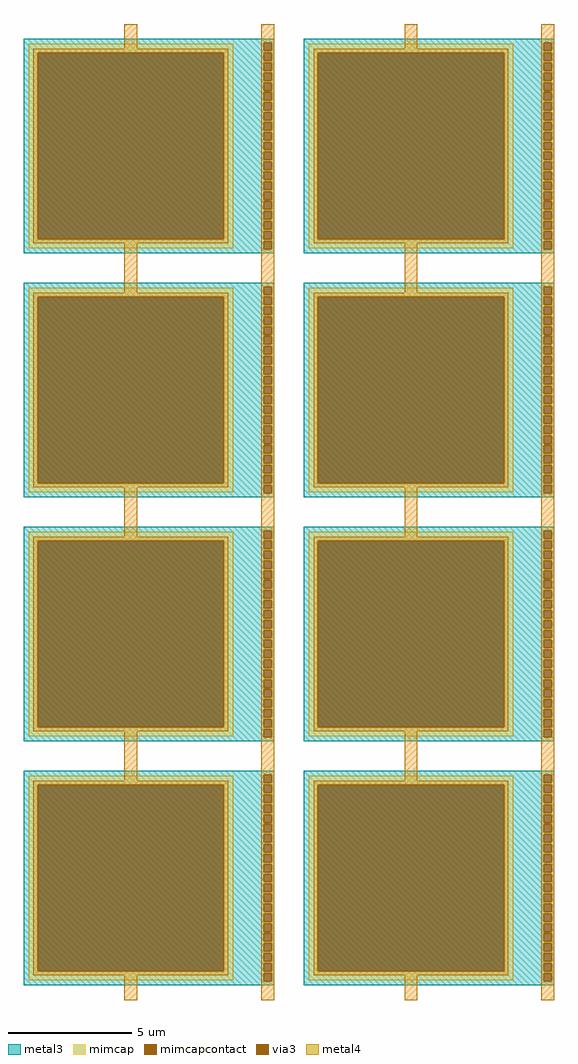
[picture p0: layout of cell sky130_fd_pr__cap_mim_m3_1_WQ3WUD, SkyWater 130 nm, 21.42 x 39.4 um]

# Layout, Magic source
magic
tech sky130A
magscale 1 2
<< metal3 >>
rect -2142 3787 -120 3820
rect -2142 3723 -204 3787
rect -140 3723 -120 3787
rect -2142 3707 -120 3723
rect -2142 3643 -204 3707
rect -140 3643 -120 3707
rect -2142 3627 -120 3643
rect -2142 3563 -204 3627
rect -140 3563 -120 3627
rect -2142 3547 -120 3563
rect -2142 3483 -204 3547
rect -140 3483 -120 3547
rect -2142 3467 -120 3483
rect -2142 3403 -204 3467
rect -140 3403 -120 3467
rect -2142 3387 -120 3403
rect -2142 3323 -204 3387
rect -140 3323 -120 3387
rect -2142 3307 -120 3323
rect -2142 3243 -204 3307
rect -140 3243 -120 3307
rect -2142 3227 -120 3243
rect -2142 3163 -204 3227
rect -140 3163 -120 3227
rect -2142 3147 -120 3163
rect -2142 3083 -204 3147
rect -140 3083 -120 3147
rect -2142 3067 -120 3083
rect -2142 3003 -204 3067
rect -140 3003 -120 3067
rect -2142 2987 -120 3003
rect -2142 2923 -204 2987
rect -140 2923 -120 2987
rect -2142 2907 -120 2923
rect -2142 2843 -204 2907
rect -140 2843 -120 2907
rect -2142 2827 -120 2843
rect -2142 2763 -204 2827
rect -140 2763 -120 2827
rect -2142 2747 -120 2763
rect -2142 2683 -204 2747
rect -140 2683 -120 2747
rect -2142 2667 -120 2683
rect -2142 2603 -204 2667
rect -140 2603 -120 2667
rect -2142 2587 -120 2603
rect -2142 2523 -204 2587
rect -140 2523 -120 2587
rect -2142 2507 -120 2523
rect -2142 2443 -204 2507
rect -140 2443 -120 2507
rect -2142 2427 -120 2443
rect -2142 2363 -204 2427
rect -140 2363 -120 2427
rect -2142 2347 -120 2363
rect -2142 2283 -204 2347
rect -140 2283 -120 2347
rect -2142 2267 -120 2283
rect -2142 2203 -204 2267
rect -140 2203 -120 2267
rect -2142 2187 -120 2203
rect -2142 2123 -204 2187
rect -140 2123 -120 2187
rect -2142 2090 -120 2123
rect 120 3787 2142 3820
rect 120 3723 2058 3787
rect 2122 3723 2142 3787
rect 120 3707 2142 3723
rect 120 3643 2058 3707
rect 2122 3643 2142 3707
rect 120 3627 2142 3643
rect 120 3563 2058 3627
rect 2122 3563 2142 3627
rect 120 3547 2142 3563
rect 120 3483 2058 3547
rect 2122 3483 2142 3547
rect 120 3467 2142 3483
rect 120 3403 2058 3467
rect 2122 3403 2142 3467
rect 120 3387 2142 3403
rect 120 3323 2058 3387
rect 2122 3323 2142 3387
rect 120 3307 2142 3323
rect 120 3243 2058 3307
rect 2122 3243 2142 3307
rect 120 3227 2142 3243
rect 120 3163 2058 3227
rect 2122 3163 2142 3227
rect 120 3147 2142 3163
rect 120 3083 2058 3147
rect 2122 3083 2142 3147
rect 120 3067 2142 3083
rect 120 3003 2058 3067
rect 2122 3003 2142 3067
rect 120 2987 2142 3003
rect 120 2923 2058 2987
rect 2122 2923 2142 2987
rect 120 2907 2142 2923
rect 120 2843 2058 2907
rect 2122 2843 2142 2907
rect 120 2827 2142 2843
rect 120 2763 2058 2827
rect 2122 2763 2142 2827
rect 120 2747 2142 2763
rect 120 2683 2058 2747
rect 2122 2683 2142 2747
rect 120 2667 2142 2683
rect 120 2603 2058 2667
rect 2122 2603 2142 2667
rect 120 2587 2142 2603
rect 120 2523 2058 2587
rect 2122 2523 2142 2587
rect 120 2507 2142 2523
rect 120 2443 2058 2507
rect 2122 2443 2142 2507
rect 120 2427 2142 2443
rect 120 2363 2058 2427
rect 2122 2363 2142 2427
rect 120 2347 2142 2363
rect 120 2283 2058 2347
rect 2122 2283 2142 2347
rect 120 2267 2142 2283
rect 120 2203 2058 2267
rect 2122 2203 2142 2267
rect 120 2187 2142 2203
rect 120 2123 2058 2187
rect 2122 2123 2142 2187
rect 120 2090 2142 2123
rect -2142 1817 -120 1850
rect -2142 1753 -204 1817
rect -140 1753 -120 1817
rect -2142 1737 -120 1753
rect -2142 1673 -204 1737
rect -140 1673 -120 1737
rect -2142 1657 -120 1673
rect -2142 1593 -204 1657
rect -140 1593 -120 1657
rect -2142 1577 -120 1593
rect -2142 1513 -204 1577
rect -140 1513 -120 1577
rect -2142 1497 -120 1513
rect -2142 1433 -204 1497
rect -140 1433 -120 1497
rect -2142 1417 -120 1433
rect -2142 1353 -204 1417
rect -140 1353 -120 1417
rect -2142 1337 -120 1353
rect -2142 1273 -204 1337
rect -140 1273 -120 1337
rect -2142 1257 -120 1273
rect -2142 1193 -204 1257
rect -140 1193 -120 1257
rect -2142 1177 -120 1193
rect -2142 1113 -204 1177
rect -140 1113 -120 1177
rect -2142 1097 -120 1113
rect -2142 1033 -204 1097
rect -140 1033 -120 1097
rect -2142 1017 -120 1033
rect -2142 953 -204 1017
rect -140 953 -120 1017
rect -2142 937 -120 953
rect -2142 873 -204 937
rect -140 873 -120 937
rect -2142 857 -120 873
rect -2142 793 -204 857
rect -140 793 -120 857
rect -2142 777 -120 793
rect -2142 713 -204 777
rect -140 713 -120 777
rect -2142 697 -120 713
rect -2142 633 -204 697
rect -140 633 -120 697
rect -2142 617 -120 633
rect -2142 553 -204 617
rect -140 553 -120 617
rect -2142 537 -120 553
rect -2142 473 -204 537
rect -140 473 -120 537
rect -2142 457 -120 473
rect -2142 393 -204 457
rect -140 393 -120 457
rect -2142 377 -120 393
rect -2142 313 -204 377
rect -140 313 -120 377
rect -2142 297 -120 313
rect -2142 233 -204 297
rect -140 233 -120 297
rect -2142 217 -120 233
rect -2142 153 -204 217
rect -140 153 -120 217
rect -2142 120 -120 153
rect 120 1817 2142 1850
rect 120 1753 2058 1817
rect 2122 1753 2142 1817
rect 120 1737 2142 1753
rect 120 1673 2058 1737
rect 2122 1673 2142 1737
rect 120 1657 2142 1673
rect 120 1593 2058 1657
rect 2122 1593 2142 1657
rect 120 1577 2142 1593
rect 120 1513 2058 1577
rect 2122 1513 2142 1577
rect 120 1497 2142 1513
rect 120 1433 2058 1497
rect 2122 1433 2142 1497
rect 120 1417 2142 1433
rect 120 1353 2058 1417
rect 2122 1353 2142 1417
rect 120 1337 2142 1353
rect 120 1273 2058 1337
rect 2122 1273 2142 1337
rect 120 1257 2142 1273
rect 120 1193 2058 1257
rect 2122 1193 2142 1257
rect 120 1177 2142 1193
rect 120 1113 2058 1177
rect 2122 1113 2142 1177
rect 120 1097 2142 1113
rect 120 1033 2058 1097
rect 2122 1033 2142 1097
rect 120 1017 2142 1033
rect 120 953 2058 1017
rect 2122 953 2142 1017
rect 120 937 2142 953
rect 120 873 2058 937
rect 2122 873 2142 937
rect 120 857 2142 873
rect 120 793 2058 857
rect 2122 793 2142 857
rect 120 777 2142 793
rect 120 713 2058 777
rect 2122 713 2142 777
rect 120 697 2142 713
rect 120 633 2058 697
rect 2122 633 2142 697
rect 120 617 2142 633
rect 120 553 2058 617
rect 2122 553 2142 617
rect 120 537 2142 553
rect 120 473 2058 537
rect 2122 473 2142 537
rect 120 457 2142 473
rect 120 393 2058 457
rect 2122 393 2142 457
rect 120 377 2142 393
rect 120 313 2058 377
rect 2122 313 2142 377
rect 120 297 2142 313
rect 120 233 2058 297
rect 2122 233 2142 297
rect 120 217 2142 233
rect 120 153 2058 217
rect 2122 153 2142 217
rect 120 120 2142 153
rect -2142 -153 -120 -120
rect -2142 -217 -204 -153
rect -140 -217 -120 -153
rect -2142 -233 -120 -217
rect -2142 -297 -204 -233
rect -140 -297 -120 -233
rect -2142 -313 -120 -297
rect -2142 -377 -204 -313
rect -140 -377 -120 -313
rect -2142 -393 -120 -377
rect -2142 -457 -204 -393
rect -140 -457 -120 -393
rect -2142 -473 -120 -457
rect -2142 -537 -204 -473
rect -140 -537 -120 -473
rect -2142 -553 -120 -537
rect -2142 -617 -204 -553
rect -140 -617 -120 -553
rect -2142 -633 -120 -617
rect -2142 -697 -204 -633
rect -140 -697 -120 -633
rect -2142 -713 -120 -697
rect -2142 -777 -204 -713
rect -140 -777 -120 -713
rect -2142 -793 -120 -777
rect -2142 -857 -204 -793
rect -140 -857 -120 -793
rect -2142 -873 -120 -857
rect -2142 -937 -204 -873
rect -140 -937 -120 -873
rect -2142 -953 -120 -937
rect -2142 -1017 -204 -953
rect -140 -1017 -120 -953
rect -2142 -1033 -120 -1017
rect -2142 -1097 -204 -1033
rect -140 -1097 -120 -1033
rect -2142 -1113 -120 -1097
rect -2142 -1177 -204 -1113
rect -140 -1177 -120 -1113
rect -2142 -1193 -120 -1177
rect -2142 -1257 -204 -1193
rect -140 -1257 -120 -1193
rect -2142 -1273 -120 -1257
rect -2142 -1337 -204 -1273
rect -140 -1337 -120 -1273
rect -2142 -1353 -120 -1337
rect -2142 -1417 -204 -1353
rect -140 -1417 -120 -1353
rect -2142 -1433 -120 -1417
rect -2142 -1497 -204 -1433
rect -140 -1497 -120 -1433
rect -2142 -1513 -120 -1497
rect -2142 -1577 -204 -1513
rect -140 -1577 -120 -1513
rect -2142 -1593 -120 -1577
rect -2142 -1657 -204 -1593
rect -140 -1657 -120 -1593
rect -2142 -1673 -120 -1657
rect -2142 -1737 -204 -1673
rect -140 -1737 -120 -1673
rect -2142 -1753 -120 -1737
rect -2142 -1817 -204 -1753
rect -140 -1817 -120 -1753
rect -2142 -1850 -120 -1817
rect 120 -153 2142 -120
rect 120 -217 2058 -153
rect 2122 -217 2142 -153
rect 120 -233 2142 -217
rect 120 -297 2058 -233
rect 2122 -297 2142 -233
rect 120 -313 2142 -297
rect 120 -377 2058 -313
rect 2122 -377 2142 -313
rect 120 -393 2142 -377
rect 120 -457 2058 -393
rect 2122 -457 2142 -393
rect 120 -473 2142 -457
rect 120 -537 2058 -473
rect 2122 -537 2142 -473
rect 120 -553 2142 -537
rect 120 -617 2058 -553
rect 2122 -617 2142 -553
rect 120 -633 2142 -617
rect 120 -697 2058 -633
rect 2122 -697 2142 -633
rect 120 -713 2142 -697
rect 120 -777 2058 -713
rect 2122 -777 2142 -713
rect 120 -793 2142 -777
rect 120 -857 2058 -793
rect 2122 -857 2142 -793
rect 120 -873 2142 -857
rect 120 -937 2058 -873
rect 2122 -937 2142 -873
rect 120 -953 2142 -937
rect 120 -1017 2058 -953
rect 2122 -1017 2142 -953
rect 120 -1033 2142 -1017
rect 120 -1097 2058 -1033
rect 2122 -1097 2142 -1033
rect 120 -1113 2142 -1097
rect 120 -1177 2058 -1113
rect 2122 -1177 2142 -1113
rect 120 -1193 2142 -1177
rect 120 -1257 2058 -1193
rect 2122 -1257 2142 -1193
rect 120 -1273 2142 -1257
rect 120 -1337 2058 -1273
rect 2122 -1337 2142 -1273
rect 120 -1353 2142 -1337
rect 120 -1417 2058 -1353
rect 2122 -1417 2142 -1353
rect 120 -1433 2142 -1417
rect 120 -1497 2058 -1433
rect 2122 -1497 2142 -1433
rect 120 -1513 2142 -1497
rect 120 -1577 2058 -1513
rect 2122 -1577 2142 -1513
rect 120 -1593 2142 -1577
rect 120 -1657 2058 -1593
rect 2122 -1657 2142 -1593
rect 120 -1673 2142 -1657
rect 120 -1737 2058 -1673
rect 2122 -1737 2142 -1673
rect 120 -1753 2142 -1737
rect 120 -1817 2058 -1753
rect 2122 -1817 2142 -1753
rect 120 -1850 2142 -1817
rect -2142 -2123 -120 -2090
rect -2142 -2187 -204 -2123
rect -140 -2187 -120 -2123
rect -2142 -2203 -120 -2187
rect -2142 -2267 -204 -2203
rect -140 -2267 -120 -2203
rect -2142 -2283 -120 -2267
rect -2142 -2347 -204 -2283
rect -140 -2347 -120 -2283
rect -2142 -2363 -120 -2347
rect -2142 -2427 -204 -2363
rect -140 -2427 -120 -2363
rect -2142 -2443 -120 -2427
rect -2142 -2507 -204 -2443
rect -140 -2507 -120 -2443
rect -2142 -2523 -120 -2507
rect -2142 -2587 -204 -2523
rect -140 -2587 -120 -2523
rect -2142 -2603 -120 -2587
rect -2142 -2667 -204 -2603
rect -140 -2667 -120 -2603
rect -2142 -2683 -120 -2667
rect -2142 -2747 -204 -2683
rect -140 -2747 -120 -2683
rect -2142 -2763 -120 -2747
rect -2142 -2827 -204 -2763
rect -140 -2827 -120 -2763
rect -2142 -2843 -120 -2827
rect -2142 -2907 -204 -2843
rect -140 -2907 -120 -2843
rect -2142 -2923 -120 -2907
rect -2142 -2987 -204 -2923
rect -140 -2987 -120 -2923
rect -2142 -3003 -120 -2987
rect -2142 -3067 -204 -3003
rect -140 -3067 -120 -3003
rect -2142 -3083 -120 -3067
rect -2142 -3147 -204 -3083
rect -140 -3147 -120 -3083
rect -2142 -3163 -120 -3147
rect -2142 -3227 -204 -3163
rect -140 -3227 -120 -3163
rect -2142 -3243 -120 -3227
rect -2142 -3307 -204 -3243
rect -140 -3307 -120 -3243
rect -2142 -3323 -120 -3307
rect -2142 -3387 -204 -3323
rect -140 -3387 -120 -3323
rect -2142 -3403 -120 -3387
rect -2142 -3467 -204 -3403
rect -140 -3467 -120 -3403
rect -2142 -3483 -120 -3467
rect -2142 -3547 -204 -3483
rect -140 -3547 -120 -3483
rect -2142 -3563 -120 -3547
rect -2142 -3627 -204 -3563
rect -140 -3627 -120 -3563
rect -2142 -3643 -120 -3627
rect -2142 -3707 -204 -3643
rect -140 -3707 -120 -3643
rect -2142 -3723 -120 -3707
rect -2142 -3787 -204 -3723
rect -140 -3787 -120 -3723
rect -2142 -3820 -120 -3787
rect 120 -2123 2142 -2090
rect 120 -2187 2058 -2123
rect 2122 -2187 2142 -2123
rect 120 -2203 2142 -2187
rect 120 -2267 2058 -2203
rect 2122 -2267 2142 -2203
rect 120 -2283 2142 -2267
rect 120 -2347 2058 -2283
rect 2122 -2347 2142 -2283
rect 120 -2363 2142 -2347
rect 120 -2427 2058 -2363
rect 2122 -2427 2142 -2363
rect 120 -2443 2142 -2427
rect 120 -2507 2058 -2443
rect 2122 -2507 2142 -2443
rect 120 -2523 2142 -2507
rect 120 -2587 2058 -2523
rect 2122 -2587 2142 -2523
rect 120 -2603 2142 -2587
rect 120 -2667 2058 -2603
rect 2122 -2667 2142 -2603
rect 120 -2683 2142 -2667
rect 120 -2747 2058 -2683
rect 2122 -2747 2142 -2683
rect 120 -2763 2142 -2747
rect 120 -2827 2058 -2763
rect 2122 -2827 2142 -2763
rect 120 -2843 2142 -2827
rect 120 -2907 2058 -2843
rect 2122 -2907 2142 -2843
rect 120 -2923 2142 -2907
rect 120 -2987 2058 -2923
rect 2122 -2987 2142 -2923
rect 120 -3003 2142 -2987
rect 120 -3067 2058 -3003
rect 2122 -3067 2142 -3003
rect 120 -3083 2142 -3067
rect 120 -3147 2058 -3083
rect 2122 -3147 2142 -3083
rect 120 -3163 2142 -3147
rect 120 -3227 2058 -3163
rect 2122 -3227 2142 -3163
rect 120 -3243 2142 -3227
rect 120 -3307 2058 -3243
rect 2122 -3307 2142 -3243
rect 120 -3323 2142 -3307
rect 120 -3387 2058 -3323
rect 2122 -3387 2142 -3323
rect 120 -3403 2142 -3387
rect 120 -3467 2058 -3403
rect 2122 -3467 2142 -3403
rect 120 -3483 2142 -3467
rect 120 -3547 2058 -3483
rect 2122 -3547 2142 -3483
rect 120 -3563 2142 -3547
rect 120 -3627 2058 -3563
rect 2122 -3627 2142 -3563
rect 120 -3643 2142 -3627
rect 120 -3707 2058 -3643
rect 2122 -3707 2142 -3643
rect 120 -3723 2142 -3707
rect 120 -3787 2058 -3723
rect 2122 -3787 2142 -3723
rect 120 -3820 2142 -3787
<< via3 >>
rect -204 3723 -140 3787
rect -204 3643 -140 3707
rect -204 3563 -140 3627
rect -204 3483 -140 3547
rect -204 3403 -140 3467
rect -204 3323 -140 3387
rect -204 3243 -140 3307
rect -204 3163 -140 3227
rect -204 3083 -140 3147
rect -204 3003 -140 3067
rect -204 2923 -140 2987
rect -204 2843 -140 2907
rect -204 2763 -140 2827
rect -204 2683 -140 2747
rect -204 2603 -140 2667
rect -204 2523 -140 2587
rect -204 2443 -140 2507
rect -204 2363 -140 2427
rect -204 2283 -140 2347
rect -204 2203 -140 2267
rect -204 2123 -140 2187
rect 2058 3723 2122 3787
rect 2058 3643 2122 3707
rect 2058 3563 2122 3627
rect 2058 3483 2122 3547
rect 2058 3403 2122 3467
rect 2058 3323 2122 3387
rect 2058 3243 2122 3307
rect 2058 3163 2122 3227
rect 2058 3083 2122 3147
rect 2058 3003 2122 3067
rect 2058 2923 2122 2987
rect 2058 2843 2122 2907
rect 2058 2763 2122 2827
rect 2058 2683 2122 2747
rect 2058 2603 2122 2667
rect 2058 2523 2122 2587
rect 2058 2443 2122 2507
rect 2058 2363 2122 2427
rect 2058 2283 2122 2347
rect 2058 2203 2122 2267
rect 2058 2123 2122 2187
rect -204 1753 -140 1817
rect -204 1673 -140 1737
rect -204 1593 -140 1657
rect -204 1513 -140 1577
rect -204 1433 -140 1497
rect -204 1353 -140 1417
rect -204 1273 -140 1337
rect -204 1193 -140 1257
rect -204 1113 -140 1177
rect -204 1033 -140 1097
rect -204 953 -140 1017
rect -204 873 -140 937
rect -204 793 -140 857
rect -204 713 -140 777
rect -204 633 -140 697
rect -204 553 -140 617
rect -204 473 -140 537
rect -204 393 -140 457
rect -204 313 -140 377
rect -204 233 -140 297
rect -204 153 -140 217
rect 2058 1753 2122 1817
rect 2058 1673 2122 1737
rect 2058 1593 2122 1657
rect 2058 1513 2122 1577
rect 2058 1433 2122 1497
rect 2058 1353 2122 1417
rect 2058 1273 2122 1337
rect 2058 1193 2122 1257
rect 2058 1113 2122 1177
rect 2058 1033 2122 1097
rect 2058 953 2122 1017
rect 2058 873 2122 937
rect 2058 793 2122 857
rect 2058 713 2122 777
rect 2058 633 2122 697
rect 2058 553 2122 617
rect 2058 473 2122 537
rect 2058 393 2122 457
rect 2058 313 2122 377
rect 2058 233 2122 297
rect 2058 153 2122 217
rect -204 -217 -140 -153
rect -204 -297 -140 -233
rect -204 -377 -140 -313
rect -204 -457 -140 -393
rect -204 -537 -140 -473
rect -204 -617 -140 -553
rect -204 -697 -140 -633
rect -204 -777 -140 -713
rect -204 -857 -140 -793
rect -204 -937 -140 -873
rect -204 -1017 -140 -953
rect -204 -1097 -140 -1033
rect -204 -1177 -140 -1113
rect -204 -1257 -140 -1193
rect -204 -1337 -140 -1273
rect -204 -1417 -140 -1353
rect -204 -1497 -140 -1433
rect -204 -1577 -140 -1513
rect -204 -1657 -140 -1593
rect -204 -1737 -140 -1673
rect -204 -1817 -140 -1753
rect 2058 -217 2122 -153
rect 2058 -297 2122 -233
rect 2058 -377 2122 -313
rect 2058 -457 2122 -393
rect 2058 -537 2122 -473
rect 2058 -617 2122 -553
rect 2058 -697 2122 -633
rect 2058 -777 2122 -713
rect 2058 -857 2122 -793
rect 2058 -937 2122 -873
rect 2058 -1017 2122 -953
rect 2058 -1097 2122 -1033
rect 2058 -1177 2122 -1113
rect 2058 -1257 2122 -1193
rect 2058 -1337 2122 -1273
rect 2058 -1417 2122 -1353
rect 2058 -1497 2122 -1433
rect 2058 -1577 2122 -1513
rect 2058 -1657 2122 -1593
rect 2058 -1737 2122 -1673
rect 2058 -1817 2122 -1753
rect -204 -2187 -140 -2123
rect -204 -2267 -140 -2203
rect -204 -2347 -140 -2283
rect -204 -2427 -140 -2363
rect -204 -2507 -140 -2443
rect -204 -2587 -140 -2523
rect -204 -2667 -140 -2603
rect -204 -2747 -140 -2683
rect -204 -2827 -140 -2763
rect -204 -2907 -140 -2843
rect -204 -2987 -140 -2923
rect -204 -3067 -140 -3003
rect -204 -3147 -140 -3083
rect -204 -3227 -140 -3163
rect -204 -3307 -140 -3243
rect -204 -3387 -140 -3323
rect -204 -3467 -140 -3403
rect -204 -3547 -140 -3483
rect -204 -3627 -140 -3563
rect -204 -3707 -140 -3643
rect -204 -3787 -140 -3723
rect 2058 -2187 2122 -2123
rect 2058 -2267 2122 -2203
rect 2058 -2347 2122 -2283
rect 2058 -2427 2122 -2363
rect 2058 -2507 2122 -2443
rect 2058 -2587 2122 -2523
rect 2058 -2667 2122 -2603
rect 2058 -2747 2122 -2683
rect 2058 -2827 2122 -2763
rect 2058 -2907 2122 -2843
rect 2058 -2987 2122 -2923
rect 2058 -3067 2122 -3003
rect 2058 -3147 2122 -3083
rect 2058 -3227 2122 -3163
rect 2058 -3307 2122 -3243
rect 2058 -3387 2122 -3323
rect 2058 -3467 2122 -3403
rect 2058 -3547 2122 -3483
rect 2058 -3627 2122 -3563
rect 2058 -3707 2122 -3643
rect 2058 -3787 2122 -3723
<< mimcap >>
rect -2102 3707 -452 3780
rect -2102 2203 -2029 3707
rect -525 2203 -452 3707
rect -2102 2130 -452 2203
rect 160 3707 1810 3780
rect 160 2203 233 3707
rect 1737 2203 1810 3707
rect 160 2130 1810 2203
rect -2102 1737 -452 1810
rect -2102 233 -2029 1737
rect -525 233 -452 1737
rect -2102 160 -452 233
rect 160 1737 1810 1810
rect 160 233 233 1737
rect 1737 233 1810 1737
rect 160 160 1810 233
rect -2102 -233 -452 -160
rect -2102 -1737 -2029 -233
rect -525 -1737 -452 -233
rect -2102 -1810 -452 -1737
rect 160 -233 1810 -160
rect 160 -1737 233 -233
rect 1737 -1737 1810 -233
rect 160 -1810 1810 -1737
rect -2102 -2203 -452 -2130
rect -2102 -3707 -2029 -2203
rect -525 -3707 -452 -2203
rect -2102 -3780 -452 -3707
rect 160 -2203 1810 -2130
rect 160 -3707 233 -2203
rect 1737 -3707 1810 -2203
rect 160 -3780 1810 -3707
<< mimcapcontact >>
rect -2029 2203 -525 3707
rect 233 2203 1737 3707
rect -2029 233 -525 1737
rect 233 233 1737 1737
rect -2029 -1737 -525 -233
rect 233 -1737 1737 -233
rect -2029 -3707 -525 -2203
rect 233 -3707 1737 -2203
<< metal4 >>
rect -1329 3741 -1225 3940
rect -224 3787 -120 3940
rect -2063 3707 -491 3741
rect -2063 2203 -2029 3707
rect -525 2203 -491 3707
rect -2063 2169 -491 2203
rect -224 3723 -204 3787
rect -140 3723 -120 3787
rect 933 3741 1037 3940
rect 2038 3787 2142 3940
rect -224 3707 -120 3723
rect -224 3643 -204 3707
rect -140 3643 -120 3707
rect -224 3627 -120 3643
rect -224 3563 -204 3627
rect -140 3563 -120 3627
rect -224 3547 -120 3563
rect -224 3483 -204 3547
rect -140 3483 -120 3547
rect -224 3467 -120 3483
rect -224 3403 -204 3467
rect -140 3403 -120 3467
rect -224 3387 -120 3403
rect -224 3323 -204 3387
rect -140 3323 -120 3387
rect -224 3307 -120 3323
rect -224 3243 -204 3307
rect -140 3243 -120 3307
rect -224 3227 -120 3243
rect -224 3163 -204 3227
rect -140 3163 -120 3227
rect -224 3147 -120 3163
rect -224 3083 -204 3147
rect -140 3083 -120 3147
rect -224 3067 -120 3083
rect -224 3003 -204 3067
rect -140 3003 -120 3067
rect -224 2987 -120 3003
rect -224 2923 -204 2987
rect -140 2923 -120 2987
rect -224 2907 -120 2923
rect -224 2843 -204 2907
rect -140 2843 -120 2907
rect -224 2827 -120 2843
rect -224 2763 -204 2827
rect -140 2763 -120 2827
rect -224 2747 -120 2763
rect -224 2683 -204 2747
rect -140 2683 -120 2747
rect -224 2667 -120 2683
rect -224 2603 -204 2667
rect -140 2603 -120 2667
rect -224 2587 -120 2603
rect -224 2523 -204 2587
rect -140 2523 -120 2587
rect -224 2507 -120 2523
rect -224 2443 -204 2507
rect -140 2443 -120 2507
rect -224 2427 -120 2443
rect -224 2363 -204 2427
rect -140 2363 -120 2427
rect -224 2347 -120 2363
rect -224 2283 -204 2347
rect -140 2283 -120 2347
rect -224 2267 -120 2283
rect -224 2203 -204 2267
rect -140 2203 -120 2267
rect -224 2187 -120 2203
rect -1329 1771 -1225 2169
rect -224 2123 -204 2187
rect -140 2123 -120 2187
rect 199 3707 1771 3741
rect 199 2203 233 3707
rect 1737 2203 1771 3707
rect 199 2169 1771 2203
rect 2038 3723 2058 3787
rect 2122 3723 2142 3787
rect 2038 3707 2142 3723
rect 2038 3643 2058 3707
rect 2122 3643 2142 3707
rect 2038 3627 2142 3643
rect 2038 3563 2058 3627
rect 2122 3563 2142 3627
rect 2038 3547 2142 3563
rect 2038 3483 2058 3547
rect 2122 3483 2142 3547
rect 2038 3467 2142 3483
rect 2038 3403 2058 3467
rect 2122 3403 2142 3467
rect 2038 3387 2142 3403
rect 2038 3323 2058 3387
rect 2122 3323 2142 3387
rect 2038 3307 2142 3323
rect 2038 3243 2058 3307
rect 2122 3243 2142 3307
rect 2038 3227 2142 3243
rect 2038 3163 2058 3227
rect 2122 3163 2142 3227
rect 2038 3147 2142 3163
rect 2038 3083 2058 3147
rect 2122 3083 2142 3147
rect 2038 3067 2142 3083
rect 2038 3003 2058 3067
rect 2122 3003 2142 3067
rect 2038 2987 2142 3003
rect 2038 2923 2058 2987
rect 2122 2923 2142 2987
rect 2038 2907 2142 2923
rect 2038 2843 2058 2907
rect 2122 2843 2142 2907
rect 2038 2827 2142 2843
rect 2038 2763 2058 2827
rect 2122 2763 2142 2827
rect 2038 2747 2142 2763
rect 2038 2683 2058 2747
rect 2122 2683 2142 2747
rect 2038 2667 2142 2683
rect 2038 2603 2058 2667
rect 2122 2603 2142 2667
rect 2038 2587 2142 2603
rect 2038 2523 2058 2587
rect 2122 2523 2142 2587
rect 2038 2507 2142 2523
rect 2038 2443 2058 2507
rect 2122 2443 2142 2507
rect 2038 2427 2142 2443
rect 2038 2363 2058 2427
rect 2122 2363 2142 2427
rect 2038 2347 2142 2363
rect 2038 2283 2058 2347
rect 2122 2283 2142 2347
rect 2038 2267 2142 2283
rect 2038 2203 2058 2267
rect 2122 2203 2142 2267
rect 2038 2187 2142 2203
rect -224 1817 -120 2123
rect -2063 1737 -491 1771
rect -2063 233 -2029 1737
rect -525 233 -491 1737
rect -2063 199 -491 233
rect -224 1753 -204 1817
rect -140 1753 -120 1817
rect 933 1771 1037 2169
rect 2038 2123 2058 2187
rect 2122 2123 2142 2187
rect 2038 1817 2142 2123
rect -224 1737 -120 1753
rect -224 1673 -204 1737
rect -140 1673 -120 1737
rect -224 1657 -120 1673
rect -224 1593 -204 1657
rect -140 1593 -120 1657
rect -224 1577 -120 1593
rect -224 1513 -204 1577
rect -140 1513 -120 1577
rect -224 1497 -120 1513
rect -224 1433 -204 1497
rect -140 1433 -120 1497
rect -224 1417 -120 1433
rect -224 1353 -204 1417
rect -140 1353 -120 1417
rect -224 1337 -120 1353
rect -224 1273 -204 1337
rect -140 1273 -120 1337
rect -224 1257 -120 1273
rect -224 1193 -204 1257
rect -140 1193 -120 1257
rect -224 1177 -120 1193
rect -224 1113 -204 1177
rect -140 1113 -120 1177
rect -224 1097 -120 1113
rect -224 1033 -204 1097
rect -140 1033 -120 1097
rect -224 1017 -120 1033
rect -224 953 -204 1017
rect -140 953 -120 1017
rect -224 937 -120 953
rect -224 873 -204 937
rect -140 873 -120 937
rect -224 857 -120 873
rect -224 793 -204 857
rect -140 793 -120 857
rect -224 777 -120 793
rect -224 713 -204 777
rect -140 713 -120 777
rect -224 697 -120 713
rect -224 633 -204 697
rect -140 633 -120 697
rect -224 617 -120 633
rect -224 553 -204 617
rect -140 553 -120 617
rect -224 537 -120 553
rect -224 473 -204 537
rect -140 473 -120 537
rect -224 457 -120 473
rect -224 393 -204 457
rect -140 393 -120 457
rect -224 377 -120 393
rect -224 313 -204 377
rect -140 313 -120 377
rect -224 297 -120 313
rect -224 233 -204 297
rect -140 233 -120 297
rect -224 217 -120 233
rect -1329 -199 -1225 199
rect -224 153 -204 217
rect -140 153 -120 217
rect 199 1737 1771 1771
rect 199 233 233 1737
rect 1737 233 1771 1737
rect 199 199 1771 233
rect 2038 1753 2058 1817
rect 2122 1753 2142 1817
rect 2038 1737 2142 1753
rect 2038 1673 2058 1737
rect 2122 1673 2142 1737
rect 2038 1657 2142 1673
rect 2038 1593 2058 1657
rect 2122 1593 2142 1657
rect 2038 1577 2142 1593
rect 2038 1513 2058 1577
rect 2122 1513 2142 1577
rect 2038 1497 2142 1513
rect 2038 1433 2058 1497
rect 2122 1433 2142 1497
rect 2038 1417 2142 1433
rect 2038 1353 2058 1417
rect 2122 1353 2142 1417
rect 2038 1337 2142 1353
rect 2038 1273 2058 1337
rect 2122 1273 2142 1337
rect 2038 1257 2142 1273
rect 2038 1193 2058 1257
rect 2122 1193 2142 1257
rect 2038 1177 2142 1193
rect 2038 1113 2058 1177
rect 2122 1113 2142 1177
rect 2038 1097 2142 1113
rect 2038 1033 2058 1097
rect 2122 1033 2142 1097
rect 2038 1017 2142 1033
rect 2038 953 2058 1017
rect 2122 953 2142 1017
rect 2038 937 2142 953
rect 2038 873 2058 937
rect 2122 873 2142 937
rect 2038 857 2142 873
rect 2038 793 2058 857
rect 2122 793 2142 857
rect 2038 777 2142 793
rect 2038 713 2058 777
rect 2122 713 2142 777
rect 2038 697 2142 713
rect 2038 633 2058 697
rect 2122 633 2142 697
rect 2038 617 2142 633
rect 2038 553 2058 617
rect 2122 553 2142 617
rect 2038 537 2142 553
rect 2038 473 2058 537
rect 2122 473 2142 537
rect 2038 457 2142 473
rect 2038 393 2058 457
rect 2122 393 2142 457
rect 2038 377 2142 393
rect 2038 313 2058 377
rect 2122 313 2142 377
rect 2038 297 2142 313
rect 2038 233 2058 297
rect 2122 233 2142 297
rect 2038 217 2142 233
rect -224 -153 -120 153
rect -2063 -233 -491 -199
rect -2063 -1737 -2029 -233
rect -525 -1737 -491 -233
rect -2063 -1771 -491 -1737
rect -224 -217 -204 -153
rect -140 -217 -120 -153
rect 933 -199 1037 199
rect 2038 153 2058 217
rect 2122 153 2142 217
rect 2038 -153 2142 153
rect -224 -233 -120 -217
rect -224 -297 -204 -233
rect -140 -297 -120 -233
rect -224 -313 -120 -297
rect -224 -377 -204 -313
rect -140 -377 -120 -313
rect -224 -393 -120 -377
rect -224 -457 -204 -393
rect -140 -457 -120 -393
rect -224 -473 -120 -457
rect -224 -537 -204 -473
rect -140 -537 -120 -473
rect -224 -553 -120 -537
rect -224 -617 -204 -553
rect -140 -617 -120 -553
rect -224 -633 -120 -617
rect -224 -697 -204 -633
rect -140 -697 -120 -633
rect -224 -713 -120 -697
rect -224 -777 -204 -713
rect -140 -777 -120 -713
rect -224 -793 -120 -777
rect -224 -857 -204 -793
rect -140 -857 -120 -793
rect -224 -873 -120 -857
rect -224 -937 -204 -873
rect -140 -937 -120 -873
rect -224 -953 -120 -937
rect -224 -1017 -204 -953
rect -140 -1017 -120 -953
rect -224 -1033 -120 -1017
rect -224 -1097 -204 -1033
rect -140 -1097 -120 -1033
rect -224 -1113 -120 -1097
rect -224 -1177 -204 -1113
rect -140 -1177 -120 -1113
rect -224 -1193 -120 -1177
rect -224 -1257 -204 -1193
rect -140 -1257 -120 -1193
rect -224 -1273 -120 -1257
rect -224 -1337 -204 -1273
rect -140 -1337 -120 -1273
rect -224 -1353 -120 -1337
rect -224 -1417 -204 -1353
rect -140 -1417 -120 -1353
rect -224 -1433 -120 -1417
rect -224 -1497 -204 -1433
rect -140 -1497 -120 -1433
rect -224 -1513 -120 -1497
rect -224 -1577 -204 -1513
rect -140 -1577 -120 -1513
rect -224 -1593 -120 -1577
rect -224 -1657 -204 -1593
rect -140 -1657 -120 -1593
rect -224 -1673 -120 -1657
rect -224 -1737 -204 -1673
rect -140 -1737 -120 -1673
rect -224 -1753 -120 -1737
rect -1329 -2169 -1225 -1771
rect -224 -1817 -204 -1753
rect -140 -1817 -120 -1753
rect 199 -233 1771 -199
rect 199 -1737 233 -233
rect 1737 -1737 1771 -233
rect 199 -1771 1771 -1737
rect 2038 -217 2058 -153
rect 2122 -217 2142 -153
rect 2038 -233 2142 -217
rect 2038 -297 2058 -233
rect 2122 -297 2142 -233
rect 2038 -313 2142 -297
rect 2038 -377 2058 -313
rect 2122 -377 2142 -313
rect 2038 -393 2142 -377
rect 2038 -457 2058 -393
rect 2122 -457 2142 -393
rect 2038 -473 2142 -457
rect 2038 -537 2058 -473
rect 2122 -537 2142 -473
rect 2038 -553 2142 -537
rect 2038 -617 2058 -553
rect 2122 -617 2142 -553
rect 2038 -633 2142 -617
rect 2038 -697 2058 -633
rect 2122 -697 2142 -633
rect 2038 -713 2142 -697
rect 2038 -777 2058 -713
rect 2122 -777 2142 -713
rect 2038 -793 2142 -777
rect 2038 -857 2058 -793
rect 2122 -857 2142 -793
rect 2038 -873 2142 -857
rect 2038 -937 2058 -873
rect 2122 -937 2142 -873
rect 2038 -953 2142 -937
rect 2038 -1017 2058 -953
rect 2122 -1017 2142 -953
rect 2038 -1033 2142 -1017
rect 2038 -1097 2058 -1033
rect 2122 -1097 2142 -1033
rect 2038 -1113 2142 -1097
rect 2038 -1177 2058 -1113
rect 2122 -1177 2142 -1113
rect 2038 -1193 2142 -1177
rect 2038 -1257 2058 -1193
rect 2122 -1257 2142 -1193
rect 2038 -1273 2142 -1257
rect 2038 -1337 2058 -1273
rect 2122 -1337 2142 -1273
rect 2038 -1353 2142 -1337
rect 2038 -1417 2058 -1353
rect 2122 -1417 2142 -1353
rect 2038 -1433 2142 -1417
rect 2038 -1497 2058 -1433
rect 2122 -1497 2142 -1433
rect 2038 -1513 2142 -1497
rect 2038 -1577 2058 -1513
rect 2122 -1577 2142 -1513
rect 2038 -1593 2142 -1577
rect 2038 -1657 2058 -1593
rect 2122 -1657 2142 -1593
rect 2038 -1673 2142 -1657
rect 2038 -1737 2058 -1673
rect 2122 -1737 2142 -1673
rect 2038 -1753 2142 -1737
rect -224 -2123 -120 -1817
rect -2063 -2203 -491 -2169
rect -2063 -3707 -2029 -2203
rect -525 -3707 -491 -2203
rect -2063 -3741 -491 -3707
rect -224 -2187 -204 -2123
rect -140 -2187 -120 -2123
rect 933 -2169 1037 -1771
rect 2038 -1817 2058 -1753
rect 2122 -1817 2142 -1753
rect 2038 -2123 2142 -1817
rect -224 -2203 -120 -2187
rect -224 -2267 -204 -2203
rect -140 -2267 -120 -2203
rect -224 -2283 -120 -2267
rect -224 -2347 -204 -2283
rect -140 -2347 -120 -2283
rect -224 -2363 -120 -2347
rect -224 -2427 -204 -2363
rect -140 -2427 -120 -2363
rect -224 -2443 -120 -2427
rect -224 -2507 -204 -2443
rect -140 -2507 -120 -2443
rect -224 -2523 -120 -2507
rect -224 -2587 -204 -2523
rect -140 -2587 -120 -2523
rect -224 -2603 -120 -2587
rect -224 -2667 -204 -2603
rect -140 -2667 -120 -2603
rect -224 -2683 -120 -2667
rect -224 -2747 -204 -2683
rect -140 -2747 -120 -2683
rect -224 -2763 -120 -2747
rect -224 -2827 -204 -2763
rect -140 -2827 -120 -2763
rect -224 -2843 -120 -2827
rect -224 -2907 -204 -2843
rect -140 -2907 -120 -2843
rect -224 -2923 -120 -2907
rect -224 -2987 -204 -2923
rect -140 -2987 -120 -2923
rect -224 -3003 -120 -2987
rect -224 -3067 -204 -3003
rect -140 -3067 -120 -3003
rect -224 -3083 -120 -3067
rect -224 -3147 -204 -3083
rect -140 -3147 -120 -3083
rect -224 -3163 -120 -3147
rect -224 -3227 -204 -3163
rect -140 -3227 -120 -3163
rect -224 -3243 -120 -3227
rect -224 -3307 -204 -3243
rect -140 -3307 -120 -3243
rect -224 -3323 -120 -3307
rect -224 -3387 -204 -3323
rect -140 -3387 -120 -3323
rect -224 -3403 -120 -3387
rect -224 -3467 -204 -3403
rect -140 -3467 -120 -3403
rect -224 -3483 -120 -3467
rect -224 -3547 -204 -3483
rect -140 -3547 -120 -3483
rect -224 -3563 -120 -3547
rect -224 -3627 -204 -3563
rect -140 -3627 -120 -3563
rect -224 -3643 -120 -3627
rect -224 -3707 -204 -3643
rect -140 -3707 -120 -3643
rect -224 -3723 -120 -3707
rect -1329 -3940 -1225 -3741
rect -224 -3787 -204 -3723
rect -140 -3787 -120 -3723
rect 199 -2203 1771 -2169
rect 199 -3707 233 -2203
rect 1737 -3707 1771 -2203
rect 199 -3741 1771 -3707
rect 2038 -2187 2058 -2123
rect 2122 -2187 2142 -2123
rect 2038 -2203 2142 -2187
rect 2038 -2267 2058 -2203
rect 2122 -2267 2142 -2203
rect 2038 -2283 2142 -2267
rect 2038 -2347 2058 -2283
rect 2122 -2347 2142 -2283
rect 2038 -2363 2142 -2347
rect 2038 -2427 2058 -2363
rect 2122 -2427 2142 -2363
rect 2038 -2443 2142 -2427
rect 2038 -2507 2058 -2443
rect 2122 -2507 2142 -2443
rect 2038 -2523 2142 -2507
rect 2038 -2587 2058 -2523
rect 2122 -2587 2142 -2523
rect 2038 -2603 2142 -2587
rect 2038 -2667 2058 -2603
rect 2122 -2667 2142 -2603
rect 2038 -2683 2142 -2667
rect 2038 -2747 2058 -2683
rect 2122 -2747 2142 -2683
rect 2038 -2763 2142 -2747
rect 2038 -2827 2058 -2763
rect 2122 -2827 2142 -2763
rect 2038 -2843 2142 -2827
rect 2038 -2907 2058 -2843
rect 2122 -2907 2142 -2843
rect 2038 -2923 2142 -2907
rect 2038 -2987 2058 -2923
rect 2122 -2987 2142 -2923
rect 2038 -3003 2142 -2987
rect 2038 -3067 2058 -3003
rect 2122 -3067 2142 -3003
rect 2038 -3083 2142 -3067
rect 2038 -3147 2058 -3083
rect 2122 -3147 2142 -3083
rect 2038 -3163 2142 -3147
rect 2038 -3227 2058 -3163
rect 2122 -3227 2142 -3163
rect 2038 -3243 2142 -3227
rect 2038 -3307 2058 -3243
rect 2122 -3307 2142 -3243
rect 2038 -3323 2142 -3307
rect 2038 -3387 2058 -3323
rect 2122 -3387 2142 -3323
rect 2038 -3403 2142 -3387
rect 2038 -3467 2058 -3403
rect 2122 -3467 2142 -3403
rect 2038 -3483 2142 -3467
rect 2038 -3547 2058 -3483
rect 2122 -3547 2142 -3483
rect 2038 -3563 2142 -3547
rect 2038 -3627 2058 -3563
rect 2122 -3627 2142 -3563
rect 2038 -3643 2142 -3627
rect 2038 -3707 2058 -3643
rect 2122 -3707 2142 -3643
rect 2038 -3723 2142 -3707
rect -224 -3940 -120 -3787
rect 933 -3940 1037 -3741
rect 2038 -3787 2058 -3723
rect 2122 -3787 2142 -3723
rect 2038 -3940 2142 -3787
<< properties >>
string FIXED_BBOX 120 2090 1850 3820
<< end >>
